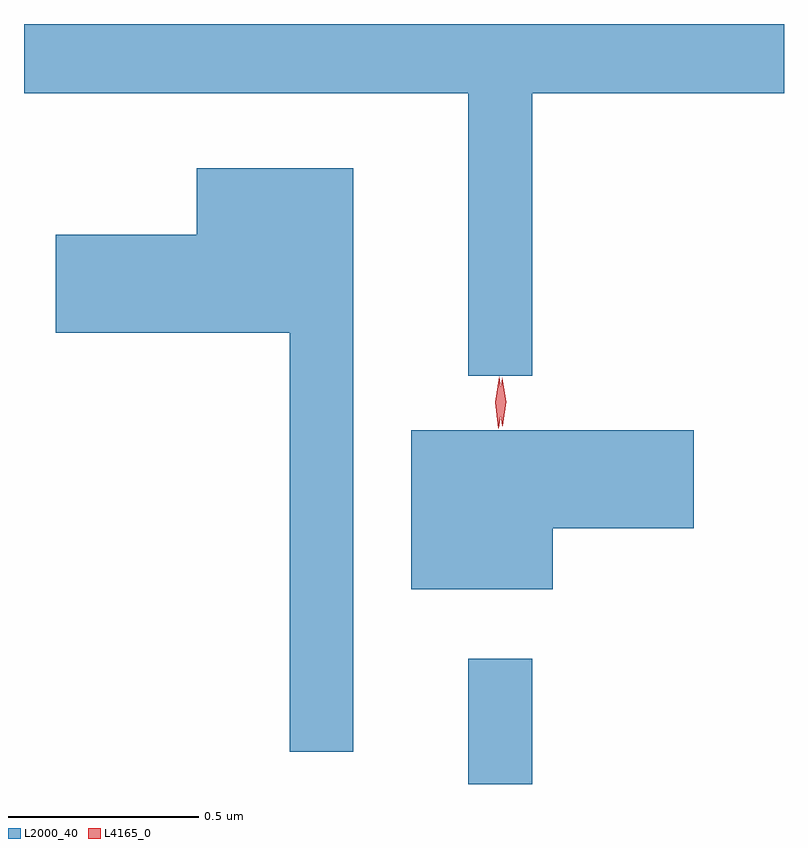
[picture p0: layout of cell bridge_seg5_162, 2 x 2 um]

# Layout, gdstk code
import gdstk
lib = gdstk.Library(unit=1e-6, precision=1e-09)
def R(c, l, rs):  # rectangles x0, y0, x1, y1
    for r in rs: c.add(gdstk.rectangle(r[:2], r[2:], *l))
def P(c, l, *ps):  # polygons
    for p in ps: c.add(gdstk.Polygon(p, *l))
L2000_40 = (2000, 40)
L4165_0 = (4165, 0)

bridge_seg5_162 = lib.new_cell('bridge_seg5_162')
R(bridge_seg5_162, L2000_40, [(1084.771,1459.418,1084.939,1459.748)])
P(bridge_seg5_162, L2000_40, [(1084.939,1461.236),(1085.602,1461.236),(1085.602,1461.418),(1083.602,1461.418),(1083.602,1461.236),(1084.771,1461.236),(1084.771,1460.493),(1084.939,1460.493)],
  [(1084.469,1461.039),(1084.056,1461.039),(1084.056,1460.864),(1083.686,1460.864),(1083.686,1460.606),(1084.301,1460.606),(1084.301,1459.503),(1084.469,1459.503)],
  [(1084.994,1460.091),(1085.364,1460.091),(1085.364,1460.349),(1084.621,1460.349),(1084.621,1459.931),(1084.994,1459.931)])
P(bridge_seg5_162, L4165_0, [(1084.85,1460.354),(1084.842,1460.422),(1084.852,1460.49),(1084.852,1460.49),(1084.853,1460.49),(1084.862,1460.422),(1084.851,1460.354),(1084.851,1460.354)],
  [(1084.862,1460.36),(1084.861,1460.361),(1084.851,1460.424),(1084.86,1460.486),(1084.86,1460.487),(1084.861,1460.486),(1084.871,1460.424),(1084.862,1460.361)])

lib.write_gds('bridge_seg5_162.gds')
